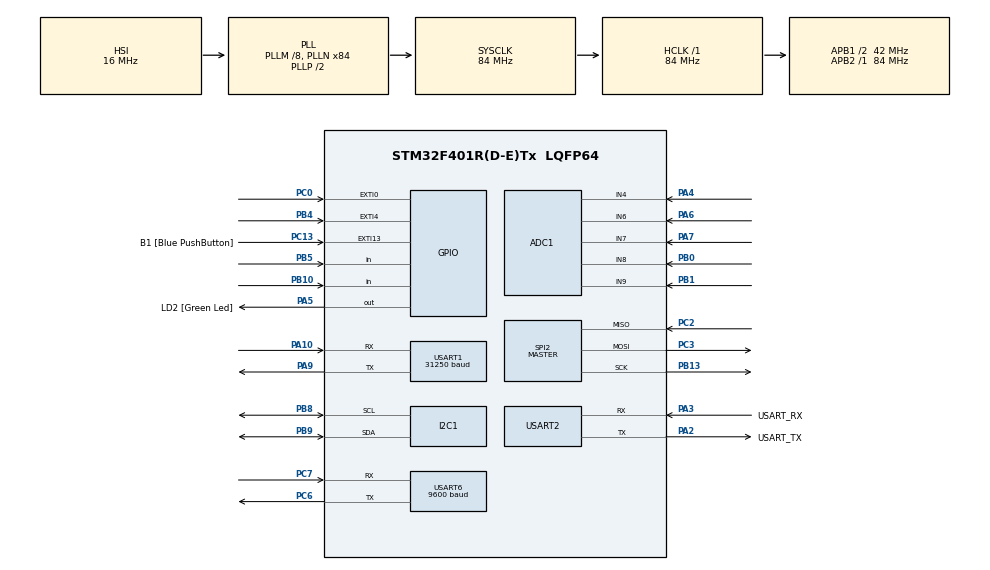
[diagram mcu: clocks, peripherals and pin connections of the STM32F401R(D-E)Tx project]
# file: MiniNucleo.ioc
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ADC1.Channel-0\#ChannelRegularConversion=ADC_CHANNEL_4
ADC1.Channel-1\#ChannelRegularConversion=ADC_CHANNEL_6
ADC1.Channel-2\#ChannelRegularConversion=ADC_CHANNEL_7
ADC1.Channel-3\#ChannelRegularConversion=ADC_CHANNEL_8
ADC1.Channel-4\#ChannelRegularConversion=ADC_CHANNEL_9
ADC1.ClockPrescaler=ADC_CLOCK_SYNC_PCLK_DIV4
ADC1.ContinuousConvMode=DISABLE
ADC1.DMAContinuousRequests=ENABLE
ADC1.DiscontinuousConvMode=DISABLE
ADC1.EOCSelection=ADC_EOC_SEQ_CONV
ADC1.ExternalTrigConv=ADC_EXTERNALTRIGCONV_T2_TRGO
ADC1.NbrOfConversion=5
ADC1.NbrOfConversionFlag=1
ADC1.Rank-0\#ChannelRegularConversion=1
ADC1.Rank-1\#ChannelRegularConversion=2
ADC1.Rank-2\#ChannelRegularConversion=3
ADC1.Rank-3\#ChannelRegularConversion=4
ADC1.Rank-4\#ChannelRegularConversion=5
ADC1.SamplingTime-0\#ChannelRegularConversion=ADC_SAMPLETIME_112CYCLES
ADC1.SamplingTime-1\#ChannelRegularConversion=ADC_SAMPLETIME_112CYCLES
ADC1.SamplingTime-2\#ChannelRegularConversion=ADC_SAMPLETIME_112CYCLES
ADC1.SamplingTime-3\#ChannelRegularConversion=ADC_SAMPLETIME_112CYCLES
ADC1.SamplingTime-4\#ChannelRegularConversion=ADC_SAMPLETIME_112CYCLES
ADC1.master=1
Dma.ADC1.0.Direction=DMA_PERIPH_TO_MEMORY
Dma.ADC1.0.FIFOMode=DMA_FIFOMODE_DISABLE
Dma.ADC1.0.Instance=DMA2_Stream0
Dma.ADC1.0.MemDataAlignment=DMA_MDATAALIGN_WORD
Dma.ADC1.0.MemInc=DMA_MINC_ENABLE
Dma.ADC1.0.Mode=DMA_CIRCULAR
Dma.ADC1.0.PeriphDataAlignment=DMA_PDATAALIGN_WORD
Dma.ADC1.0.PeriphInc=DMA_PINC_DISABLE
Dma.ADC1.0.Priority=DMA_PRIORITY_LOW
Dma.Request0=ADC1
Mcu.Family=STM32F4
Mcu.Name=STM32F401R(D-E)Tx
Mcu.Package=LQFP64
NVIC.ADC_IRQn=true\:0\:0\:false\:false\:true\:true\:true\:true
NVIC.DMA2_Stream0_IRQn=true\:0\:0\:false\:false\:true\:false\:true\:true
NVIC.EXTI0_IRQn=true\:0\:0\:false\:false\:true\:true\:true\:true
NVIC.EXTI15_10_IRQn=true\:0\:0\:false\:false\:true\:true\:true\:true
NVIC.EXTI4_IRQn=true\:0\:0\:false\:false\:true\:true\:true\:true
NVIC.I2C1_EV_IRQn=true\:0\:0\:false\:false\:true\:true\:true\:true
NVIC.PriorityGroup=NVIC_PRIORITYGROUP_0
NVIC.TIM2_IRQn=true\:0\:0\:false\:false\:true\:true\:true\:true
NVIC.TIM3_IRQn=true\:0\:0\:false\:false\:true\:true\:true\:true
PA10.Mode=Asynchronous
PA10.Signal=USART1_RX
PA13.GPIO_Label=TMS
PA13.Signal=SYS_JTMS-SWDIO
PA14.GPIO_Label=TCK
PA14.Signal=SYS_JTCK-SWCLK
PA2.GPIO_Label=USART_TX
PA2.GPIO_Mode=GPIO_MODE_AF_PP
PA2.GPIO_PuPd=GPIO_NOPULL
PA2.GPIO_Speed=GPIO_SPEED_FREQ_LOW
PA2.Mode=Asynchronous
PA2.Signal=USART2_TX
PA3.GPIO_Label=USART_RX
PA3.GPIO_Mode=GPIO_MODE_AF_PP
PA3.GPIO_PuPd=GPIO_NOPULL
PA3.GPIO_Speed=GPIO_SPEED_FREQ_LOW
PA3.Mode=Asynchronous
PA3.Signal=USART2_RX
PA4.Signal=ADCx_IN4
PA5.GPIO_Label=LD2 [Green Led]
PA5.GPIO_Mode=GPIO_MODE_OUTPUT_PP
PA5.GPIO_PuPd=GPIO_NOPULL
PA5.GPIO_Speed=GPIO_SPEED_FREQ_LOW
PA5.Signal=GPIO_Output
PA6.Signal=ADCx_IN6
PA7.Signal=ADCx_IN7
PA9.Mode=Asynchronous
PA9.Signal=USART1_TX
PB0.Signal=ADCx_IN8
PB1.Signal=ADCx_IN9
PB10.GPIO_PuPd=GPIO_PULLDOWN
PB10.Signal=GPIO_Input
PB13.Mode=Full_Duplex_Master
PB13.Signal=SPI2_SCK
PB4.GPIO_PuPd=GPIO_PULLDOWN
PB4.Signal=GPXTI4
PB5.GPIO_PuPd=GPIO_PULLDOWN
PB5.Signal=GPIO_Input
PB8.Mode=I2C
PB8.Signal=I2C1_SCL
PB9.Mode=I2C
PB9.Signal=I2C1_SDA
PC0.GPIO_PuPd=GPIO_PULLDOWN
PC0.Signal=GPXTI0
PC13-ANTI_TAMP.GPIO_Label=B1 [Blue PushButton]
PC13-ANTI_TAMP.GPIO_ModeDefaultEXTI=GPIO_MODE_IT_FALLING
PC13-ANTI_TAMP.GPIO_PuPd=GPIO_NOPULL
PC13-ANTI_TAMP.Signal=GPXTI13
PC14-OSC32_IN.Signal=RCC_OSC32_IN
PC15-OSC32_OUT.Signal=RCC_OSC32_OUT
PC2.Mode=Full_Duplex_Master
PC2.Signal=SPI2_MISO
PC3.Mode=Full_Duplex_Master
PC3.Signal=SPI2_MOSI
PC6.Mode=Asynchronous
PC6.Signal=USART6_TX
PC7.Mode=Asynchronous
PC7.Signal=USART6_RX
PH0\ -\ OSC_IN.Signal=RCC_OSC_IN
PH1\ -\ OSC_OUT.Signal=RCC_OSC_OUT
ProjectManager.HeapSize=0x200
ProjectManager.StackSize=0x400
ProjectManager.TargetToolchain=STM32CubeIDE
RCC.48MHZClocksFreq_Value=24000000
RCC.AHBFreq_Value=84000000
RCC.APB1CLKDivider=RCC_HCLK_DIV2
RCC.APB1Freq_Value=42000000
RCC.APB1TimFreq_Value=84000000
RCC.APB2Freq_Value=84000000
RCC.APB2TimFreq_Value=84000000
RCC.CortexFreq_Value=84000000
RCC.HCLKFreq_Value=84000000
RCC.HSE_VALUE=8000000
RCC.HSI_VALUE=16000000
RCC.LSE_VALUE=32768
RCC.PLLM=8
RCC.PLLN=84
RCC.PLLQ=7
RCC.SYSCLKFreq_VALUE=84000000
RCC.SYSCLKSource=RCC_SYSCLKSOURCE_PLLCLK
RCC.VCOOutputFreq_Value=168000000
SH.ADCx_IN4.0=ADC1_IN4,IN4
SH.ADCx_IN6.0=ADC1_IN6,IN6
SH.ADCx_IN7.0=ADC1_IN7,IN7
SH.ADCx_IN8.0=ADC1_IN8,IN8
SH.ADCx_IN9.0=ADC1_IN9,IN9
SPI2.CLKPhase=SPI_PHASE_2EDGE
SPI2.Direction=SPI_DIRECTION_2LINES
SPI2.Mode=SPI_MODE_MASTER
SPI2.VirtualType=VM_MASTER
TIM2.Channel-PWM\ Generation1\ No\ Output=TIM_CHANNEL_1
TIM2.Period=20000
TIM2.Prescaler=83
TIM2.Pulse-PWM\ Generation1\ No\ Output=0
TIM2.TIM_MasterOutputTrigger=TIM_TRGO_UPDATE
TIM3.AutoReloadPreload=TIM_AUTORELOAD_PRELOAD_ENABLE
TIM3.Period=20000
TIM3.Prescaler=83
TIM3.TIM_MasterOutputTrigger=TIM_TRGO_RESET
USART1.BaudRate=31250
USART1.VirtualMode=VM_ASYNC
USART2.VirtualMode=VM_ASYNC
USART6.BaudRate=9600
USART6.VirtualMode=VM_ASYNC
VP_TIM2_VS_ClockSourceINT.Mode=Internal
VP_TIM2_VS_no_output1.Mode=PWM Generation1 No Output
VP_TIM3_VS_ClockSourceINT.Mode=Internal
board=NUCLEO-F401RE

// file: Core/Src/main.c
/* USER CODE BEGIN Header */
/**
  ******************************************************************************
  * @file           : main.c
  * @brief          : Main program body
  ******************************************************************************
  * @attention
  *
  * Copyright (c) 2022 STMicroelectronics.
  * All rights reserved.
  *
  * This software is licensed under terms that can be found in the LICENSE file
  * in the root directory of this software component.
  * If no LICENSE file comes with this software, it is provided AS-IS.
  *
  ******************************************************************************
  */
/* USER CODE END Header */
#include "main.h"

/* USER CODE BEGIN Includes */
#include "lcd_i2c.h"
#include "midi_synth.h"
#include "stdlib.h"
#include "stdio.h"
#include "pixy.h"
#include <math.h>
/* USER CODE END Includes */

ADC_HandleTypeDef hadc1;
DMA_HandleTypeDef hdma_adc1;

I2C_HandleTypeDef hi2c1;

SPI_HandleTypeDef hspi2;

TIM_HandleTypeDef htim2;
TIM_HandleTypeDef htim3;

UART_HandleTypeDef huart1;
UART_HandleTypeDef huart2;
UART_HandleTypeDef huart6;

/* USER CODE BEGIN PV */
uint32_t adc_buffer[5] = {0,0,0,0,0};
uint32_t finger_on[5] = {0,0,0,0,0};
uint32_t finger_count[5] = {0,0,0,0,0};
uint32_t finger_amp[5] = {0,0,0,0,0};

uint16_t threshold = 800;
uint8_t force_samples = 3;
/* USER CODE END PV */

void SystemClock_Config(void);
static void MX_GPIO_Init(void);
static void MX_DMA_Init(void);
static void MX_ADC1_Init(void);
static void MX_USART2_UART_Init(void);
static void MX_TIM2_Init(void);
static void MX_I2C1_Init(void);
static void MX_USART1_UART_Init(void);
static void MX_SPI2_Init(void);
static void MX_TIM3_Init(void);
static void MX_USART6_UART_Init(void);

/* USER CODE BEGIN 0 */
uint8_t thumb_pos = 23;
uint8_t display_changed = 1;
uint8_t read_pixy = 0;
double ref_distance = 0.0;
double distance = 0.0;
/* USER CODE END 0 */

int main(void)
{
  /* USER CODE BEGIN 1 */

	int distance_gotten = 0;
  /* USER CODE END 1 */

  /* MCU Configuration--------------------------------------------------------*/

  /* Reset of all peripherals, Initializes the Flash interface and the Systick. */
  HAL_Init();

  /* Configure the system clock */
  SystemClock_Config();

  /* Initialize all configured peripherals */
  MX_GPIO_Init();
  MX_DMA_Init();
  MX_ADC1_Init();
  MX_USART2_UART_Init();
  MX_TIM2_Init();
  MX_I2C1_Init();
  MX_USART1_UART_Init();
  MX_SPI2_Init();
  MX_TIM3_Init();
  MX_USART6_UART_Init();
  /* USER CODE BEGIN 2 */
  HAL_TIM_PWM_Start(&htim2,TIM_CHANNEL_1);
  HAL_TIM_PWM_Start_IT(&htim3,TIM_CHANNEL_1);
  HAL_ADC_Start_DMA(&hadc1, (uint32_t*)adc_buffer, 5);
  lcd_init(&hi2c1);
  lcd_send_string(&hi2c1, "READY");
  lcd_set_pos(&hi2c1, 1, 0);
  lcd_send_string(&hi2c1, "PIANO");
  changeInstrument(&huart1, 0);
  changeVolume(&huart1, 127);

  /* USER CODE END 2 */

  /* Infinite loop */
  /* USER CODE BEGIN WHILE */

  uint8_t instrument_programs[] = {0, 25, 40, 56, 73};
  uint8_t white_keys[52] = {21, 23, 24, 26, 28, 29, 31, 33, 35, 36, 38, 40, 41, 43, 45, 47, 48, 50, 52, 53, 55, 57, 59, 60, 62, 64, 65, 67, 69, 71, 72, 74, 76, 77, 79, 81, 83, 84, 86, 88, 89, 91, 93, 95, 96, 98, 100, 101, 103, 105, 107, 108};
  char key_names[] = "AABCCDDEFFGG";
  char key_accidents[] = " #  # #  # #";
  uint8_t semitone_offset[5] = {0,2,4,5,7};
  uint8_t instrument = 0;
  uint8_t mode = 0;
  uint8_t PB5_prev = 0;
  uint8_t PB5_curr = 0;
  uint8_t PB10_prev = 0;
  uint8_t PB10_curr = 0;
  uint8_t prev_thumb_pos_mod = 0;
  uint8_t thumb_pos_modified = 0;
  uint8_t last_played[]  = {0, 0, 0, 0, 0};

  while (1)
  {
//	  HAL_Delay (500);
//	  playNote(&huart1, 60, 0x7F);
//	  HAL_Delay (500);
//	  playNote(&huart1, 64, 0x7F);
//	  HAL_Delay (500);
//	  playNote(&huart1, 67, 0x7F);
//	  HAL_Delay (500);
    /* USER CODE END WHILE */

    /* USER CODE BEGIN 3 */

	  // printf("adc_1: %d adc_2: %d adc_3: %d adc_4: %d adc_5: %d\n\r",adc_buffer[0],adc_buffer[1],adc_buffer[2],adc_buffer[3],adc_buffer[4]);

	  if (mode != 0) {
		  if (read_pixy){
			  distance_gotten = getDist(&hspi2);

			  if (distance_gotten != -1) {
				  // This is distance and should be used for distance calculation
				  distance = distance * .9 + (double)distance_gotten * .1;
			  }
			  read_pixy = 0;
			  //printf("distance: %d/n/r");
		  }

		  if (ref_distance != 0.0) {
			  thumb_pos_modified = thumb_pos + (int)floor((ref_distance - distance) / 2.9);
			  if (thumb_pos_modified > 47) thumb_pos_modified = 47;
			  if (thumb_pos_modified < 0) thumb_pos_modified = 0;
			  // printf("thumb_pos_modified: %d\n\r", thumb_pos_modified);
		  } else {
			  thumb_pos_modified = thumb_pos;
		  }

	  } else {
		  thumb_pos_modified = thumb_pos;
	  }
	  if (prev_thumb_pos_mod != thumb_pos_modified) display_changed = 1;
	  prev_thumb_pos_mod = thumb_pos_modified;

	  if (display_changed){
		  char notes_display[21] = "                    ";

		  for (uint8_t i = 0; i < 5 ; ++i){
			  uint8_t note_val;
			  if (mode == 2) note_val = white_keys[thumb_pos_modified] + semitone_offset[i];
			  else note_val = white_keys[thumb_pos_modified+i];
			  char note = key_names[(note_val + 3) % 12];
			  char number = ((note_val / 12)-1) + '0';
			  notes_display[3*i] = note;
			  notes_display[3*i+1] = number;
			  char accident = key_accidents[(note_val + 3) % 12];
			  if (accident == '#') notes_display[3*i+1] = accident;
		  }

		  lcd_set_pos(&hi2c1, 0, 0);
		  lcd_send_string(&hi2c1, notes_display);

		  display_changed = 0;
	  }

	  // check button 3, change instrument if pressed
	  PB5_curr = HAL_GPIO_ReadPin (GPIOB, GPIO_PIN_5);
	  if (PB5_curr && !PB5_prev) {
		  instrument++;
		  if (instrument > 4) instrument = 0;
		  // send MIDI command
		  changeInstrument(&huart1, instrument_programs[instrument]);
		  // display new instrument
		  lcd_set_pos(&hi2c1, 1, 0);
		  switch (instrument) {
		  case 0:
			  lcd_send_string(&hi2c1, "PIANO  ");
			  break;
		  case 1:
			  lcd_send_string(&hi2c1, "GUITAR ");
			  break;
		  case 2:
			  lcd_send_string(&hi2c1, "VIOLIN");
			  break;
		  case 3:
			  lcd_send_string(&hi2c1, "TRUMPET");
			  break;
		  case 4:
			  lcd_send_string(&hi2c1, "FLUTE  ");
			  break;
		  }
	  }
	  PB5_prev = PB5_curr;

	  PB10_curr = HAL_GPIO_ReadPin (GPIOB, GPIO_PIN_10);
	  	  if (PB10_curr && !PB10_prev) {
	  		  if (mode == 0 || ref_distance != 0.0){
	  			  mode++;
	  			  if (mode > 2) mode = 0;
	  			  printf("mode: %d\r\n", mode);
	  			  ref_distance = 0;
	  		  }
	  		  else {
	  			ref_distance = distance + 1.5;
	  			printf("ref distance: %f\n\r", ref_distance);
	  		  }

	  		  // print mode information
	  		  lcd_set_pos(&hi2c1, 1, 8);
	  		  switch (mode) {
	  		  case 0:
	  			  lcd_send_string(&hi2c1, "     ");
	  			  break;
	  		  case 1:
	  			  lcd_send_string(&hi2c1, "FULL ");
	  			  break;
	  		  case 2:
	  			  lcd_send_string(&hi2c1, "CHORD");
	  			  break;
	  		  }
	  	  }
	  	  PB10_prev = PB10_curr;

	  for (uint8_t i = 0; i < 5; ++i){
	  	if (!finger_on[i]){
	  		if (finger_count[i] >= force_samples){

	  			uint8_t velocity = 31 + ((float) finger_amp[i]*96/2000.0);
	  			if (i > 2) velocity = velocity * 1.2;
	  			if (velocity > 127) velocity = 127;

	  			uint8_t note_val;
	  			if (mode == 2) note_val = white_keys[thumb_pos_modified] + semitone_offset[i];
	  			else note_val = white_keys[thumb_pos_modified+i];

	  			playNote(&huart1, note_val, velocity);
	  			playNote(&huart6, note_val, velocity);
	  			printf("played finger %d \n\r", i);
	  			printf("adc_1: %d adc_2: %d adc_3: %d adc_4: %d adc_5: %d\n\r",adc_buffer[0],adc_buffer[1],adc_buffer[2],adc_buffer[3],adc_buffer[4]);
	  			finger_count[i] = 0;
	  			finger_amp[i] = 0;
	  			finger_on[i] = 1;
	  			last_played[i] = note_val;
	  		}
	  	}
	  	else{
	  		if (finger_count[i] >= force_samples){

	  			uint8_t note_val;
				if (mode == 2) note_val = white_keys[thumb_pos_modified] + semitone_offset[i];
				else note_val = white_keys[thumb_pos_modified+i];

	  			stopNote(&huart1, last_played[i], 0x40);
	  			stopNote(&huart6, last_played[i], 0x40);
	  			printf("released finger %d \n\r", i);
	  			finger_count[i] = 0;
	  			finger_on[i] = 0;
	  		}
	  	}
	  }

  }

  /* USER CODE END 3 */
}

void SystemClock_Config(void)
{
  RCC_OscInitTypeDef RCC_OscInitStruct = {0};
  RCC_ClkInitTypeDef RCC_ClkInitStruct = {0};

  /** Configure the main internal regulator output voltage
  */
  __HAL_RCC_PWR_CLK_ENABLE();
  __HAL_PWR_VOLTAGESCALING_CONFIG(PWR_REGULATOR_VOLTAGE_SCALE2);

  /** Initializes the RCC Oscillators according to the specified parameters
  * in the RCC_OscInitTypeDef structure.
  */
  RCC_OscInitStruct.OscillatorType = RCC_OSCILLATORTYPE_HSI;
  RCC_OscInitStruct.HSIState = RCC_HSI_ON;
  RCC_OscInitStruct.HSICalibrationValue = RCC_HSICALIBRATION_DEFAULT;
  RCC_OscInitStruct.PLL.PLLState = RCC_PLL_ON;
  RCC_OscInitStruct.PLL.PLLSource = RCC_PLLSOURCE_HSI;
  RCC_OscInitStruct.PLL.PLLM = 8;
  RCC_OscInitStruct.PLL.PLLN = 84;
  RCC_OscInitStruct.PLL.PLLP = RCC_PLLP_DIV2;
  RCC_OscInitStruct.PLL.PLLQ = 7;
  if (HAL_RCC_OscConfig(&RCC_OscInitStruct) != HAL_OK)
  {
    Error_Handler();
  }

  /** Initializes the CPU, AHB and APB buses clocks
  */
  RCC_ClkInitStruct.ClockType = RCC_CLOCKTYPE_HCLK|RCC_CLOCKTYPE_SYSCLK
                              |RCC_CLOCKTYPE_PCLK1|RCC_CLOCKTYPE_PCLK2;
  RCC_ClkInitStruct.SYSCLKSource = RCC_SYSCLKSOURCE_PLLCLK;
  RCC_ClkInitStruct.AHBCLKDivider = RCC_SYSCLK_DIV1;
  RCC_ClkInitStruct.APB1CLKDivider = RCC_HCLK_DIV2;
  RCC_ClkInitStruct.APB2CLKDivider = RCC_HCLK_DIV1;

  if (HAL_RCC_ClockConfig(&RCC_ClkInitStruct, FLASH_LATENCY_2) != HAL_OK)
  {
    Error_Handler();
  }
}

static void MX_ADC1_Init(void)
{

  ADC_ChannelConfTypeDef sConfig = {0};

  /** Configure the global features of the ADC (Clock, Resolution, Data Alignment and number of conversion)
  */
  hadc1.Instance = ADC1;
  hadc1.Init.ClockPrescaler = ADC_CLOCK_SYNC_PCLK_DIV4;
  hadc1.Init.Resolution = ADC_RESOLUTION_12B;
  hadc1.Init.ScanConvMode = ENABLE;
  hadc1.Init.ContinuousConvMode = DISABLE;
  hadc1.Init.DiscontinuousConvMode = DISABLE;
  hadc1.Init.ExternalTrigConvEdge = ADC_EXTERNALTRIGCONVEDGE_RISING;
  hadc1.Init.ExternalTrigConv = ADC_EXTERNALTRIGCONV_T2_TRGO;
  hadc1.Init.DataAlign = ADC_DATAALIGN_RIGHT;
  hadc1.Init.NbrOfConversion = 5;
  hadc1.Init.DMAContinuousRequests = ENABLE;
  hadc1.Init.EOCSelection = ADC_EOC_SEQ_CONV;
  if (HAL_ADC_Init(&hadc1) != HAL_OK)
  {
    Error_Handler();
  }

  /** Configure for the selected ADC regular channel its corresponding rank in the sequencer and its sample time.
  */
  sConfig.Channel = ADC_CHANNEL_4;
  sConfig.Rank = 1;
  sConfig.SamplingTime = ADC_SAMPLETIME_112CYCLES;
  if (HAL_ADC_ConfigChannel(&hadc1, &sConfig) != HAL_OK)
  {
    Error_Handler();
  }

  /** Configure for the selected ADC regular channel its corresponding rank in the sequencer and its sample time.
  */
  sConfig.Channel = ADC_CHANNEL_6;
  sConfig.Rank = 2;
  if (HAL_ADC_ConfigChannel(&hadc1, &sConfig) != HAL_OK)
  {
    Error_Handler();
  }

  /** Configure for the selected ADC regular channel its corresponding rank in the sequencer and its sample time.
  */
  sConfig.Channel = ADC_CHANNEL_7;
  sConfig.Rank = 3;
  if (HAL_ADC_ConfigChannel(&hadc1, &sConfig) != HAL_OK)
  {
    Error_Handler();
  }

  /** Configure for the selected ADC regular channel its corresponding rank in the sequencer and its sample time.
  */
  sConfig.Channel = ADC_CHANNEL_8;
  sConfig.Rank = 4;
  if (HAL_ADC_ConfigChannel(&hadc1, &sConfig) != HAL_OK)
  {
    Error_Handler();
  }

  /** Configure for the selected ADC regular channel its corresponding rank in the sequencer and its sample time.
  */
  sConfig.Channel = ADC_CHANNEL_9;
  sConfig.Rank = 5;
  if (HAL_ADC_ConfigChannel(&hadc1, &sConfig) != HAL_OK)
  {
    Error_Handler();
  }

}

static void MX_I2C1_Init(void)
{

  hi2c1.Instance = I2C1;
  hi2c1.Init.ClockSpeed = 100000;
  hi2c1.Init.DutyCycle = I2C_DUTYCYCLE_2;
  hi2c1.Init.OwnAddress1 = 0;
  hi2c1.Init.AddressingMode = I2C_ADDRESSINGMODE_7BIT;
  hi2c1.Init.DualAddressMode = I2C_DUALADDRESS_DISABLE;
  hi2c1.Init.OwnAddress2 = 0;
  hi2c1.Init.GeneralCallMode = I2C_GENERALCALL_DISABLE;
  hi2c1.Init.NoStretchMode = I2C_NOSTRETCH_DISABLE;
  if (HAL_I2C_Init(&hi2c1) != HAL_OK)
  {
    Error_Handler();
  }

}

static void MX_SPI2_Init(void)
{

  /* SPI2 parameter configuration*/
  hspi2.Instance = SPI2;
  hspi2.Init.Mode = SPI_MODE_MASTER;
  hspi2.Init.Direction = SPI_DIRECTION_2LINES;
  hspi2.Init.DataSize = SPI_DATASIZE_8BIT;
  hspi2.Init.CLKPolarity = SPI_POLARITY_LOW;
  hspi2.Init.CLKPhase = SPI_PHASE_2EDGE;
  hspi2.Init.NSS = SPI_NSS_SOFT;
  hspi2.Init.BaudRatePrescaler = SPI_BAUDRATEPRESCALER_2;
  hspi2.Init.FirstBit = SPI_FIRSTBIT_MSB;
  hspi2.Init.TIMode = SPI_TIMODE_DISABLE;
  hspi2.Init.CRCCalculation = SPI_CRCCALCULATION_DISABLE;
  hspi2.Init.CRCPolynomial = 10;
  if (HAL_SPI_Init(&hspi2) != HAL_OK)
  {
    Error_Handler();
  }

}

static void MX_TIM2_Init(void)
{

  TIM_ClockConfigTypeDef sClockSourceConfig = {0};
  TIM_MasterConfigTypeDef sMasterConfig = {0};
  TIM_OC_InitTypeDef sConfigOC = {0};

  htim2.Instance = TIM2;
  htim2.Init.Prescaler = 83;
  htim2.Init.CounterMode = TIM_COUNTERMODE_UP;
  htim2.Init.Period = 20000;
  htim2.Init.ClockDivision = TIM_CLOCKDIVISION_DIV1;
  htim2.Init.AutoReloadPreload = TIM_AUTORELOAD_PRELOAD_DISABLE;
  if (HAL_TIM_Base_Init(&htim2) != HAL_OK)
  {
    Error_Handler();
  }
  sClockSourceConfig.ClockSource = TIM_CLOCKSOURCE_INTERNAL;
  if (HAL_TIM_ConfigClockSource(&htim2, &sClockSourceConfig) != HAL_OK)
  {
    Error_Handler();
  }
  if (HAL_TIM_PWM_Init(&htim2) != HAL_OK)
  {
    Error_Handler();
  }
  sMasterConfig.MasterOutputTrigger = TIM_TRGO_UPDATE;
  sMasterConfig.MasterSlaveMode = TIM_MASTERSLAVEMODE_DISABLE;
  if (HAL_TIMEx_MasterConfigSynchronization(&htim2, &sMasterConfig) != HAL_OK)
  {
    Error_Handler();
  }
  sConfigOC.OCMode = TIM_OCMODE_PWM1;
  sConfigOC.Pulse = 0;
  sConfigOC.OCPolarity = TIM_OCPOLARITY_HIGH;
  sConfigOC.OCFastMode = TIM_OCFAST_DISABLE;
  if (HAL_TIM_PWM_ConfigChannel(&htim2, &sConfigOC, TIM_CHANNEL_1) != HAL_OK)
  {
    Error_Handler();
  }

}

static void MX_TIM3_Init(void)
{

  TIM_ClockConfigTypeDef sClockSourceConfig = {0};
  TIM_MasterConfigTypeDef sMasterConfig = {0};

  htim3.Instance = TIM3;
  htim3.Init.Prescaler = 83;
  htim3.Init.CounterMode = TIM_COUNTERMODE_UP;
  htim3.Init.Period = 20000;
  htim3.Init.ClockDivision = TIM_CLOCKDIVISION_DIV1;
  htim3.Init.AutoReloadPreload = TIM_AUTORELOAD_PRELOAD_ENABLE;
  if (HAL_TIM_Base_Init(&htim3) != HAL_OK)
  {
    Error_Handler();
  }
  sClockSourceConfig.ClockSource = TIM_CLOCKSOURCE_INTERNAL;
  if (HAL_TIM_ConfigClockSource(&htim3, &sClockSourceConfig) != HAL_OK)
  {
    Error_Handler();
  }
  sMasterConfig.MasterOutputTrigger = TIM_TRGO_RESET;
  sMasterConfig.MasterSlaveMode = TIM_MASTERSLAVEMODE_DISABLE;
  if (HAL_TIMEx_MasterConfigSynchronization(&htim3, &sMasterConfig) != HAL_OK)
  {
    Error_Handler();
  }

}

static void MX_USART1_UART_Init(void)
{

  huart1.Instance = USART1;
  huart1.Init.BaudRate = 31250;
  huart1.Init.WordLength = UART_WORDLENGTH_8B;
  huart1.Init.StopBits = UART_STOPBITS_1;
  huart1.Init.Parity = UART_PARITY_NONE;
  huart1.Init.Mode = UART_MODE_TX_RX;
  huart1.Init.HwFlowCtl = UART_HWCONTROL_NONE;
  huart1.Init.OverSampling = UART_OVERSAMPLING_16;
  if (HAL_UART_Init(&huart1) != HAL_OK)
  {
    Error_Handler();
  }

}

static void MX_USART2_UART_Init(void)
{

  huart2.Instance = USART2;
  huart2.Init.BaudRate = 115200;
  huart2.Init.WordLength = UART_WORDLENGTH_8B;
  huart2.Init.StopBits = UART_STOPBITS_1;
  huart2.Init.Parity = UART_PARITY_NONE;
  huart2.Init.Mode = UART_MODE_TX_RX;
  huart2.Init.HwFlowCtl = UART_HWCONTROL_NONE;
  huart2.Init.OverSampling = UART_OVERSAMPLING_16;
  if (HAL_UART_Init(&huart2) != HAL_OK)
  {
    Error_Handler();
  }

}

static void MX_USART6_UART_Init(void)
{

  huart6.Instance = USART6;
  huart6.Init.BaudRate = 9600;
  huart6.Init.WordLength = UART_WORDLENGTH_8B;
  huart6.Init.StopBits = UART_STOPBITS_1;
  huart6.Init.Parity = UART_PARITY_NONE;
  huart6.Init.Mode = UART_MODE_TX_RX;
  huart6.Init.HwFlowCtl = UART_HWCONTROL_NONE;
  huart6.Init.OverSampling = UART_OVERSAMPLING_16;
  if (HAL_UART_Init(&huart6) != HAL_OK)
  {
    Error_Handler();
  }

}

static void MX_DMA_Init(void)
{

  /* DMA controller clock enable */
  __HAL_RCC_DMA2_CLK_ENABLE();

  /* DMA interrupt init */
  /* DMA2_Stream0_IRQn interrupt configuration */
  HAL_NVIC_SetPriority(DMA2_Stream0_IRQn, 0, 0);
  HAL_NVIC_EnableIRQ(DMA2_Stream0_IRQn);

}

static void MX_GPIO_Init(void)
{
  GPIO_InitTypeDef GPIO_InitStruct = {0};

  /* GPIO Ports Clock Enable */
  __HAL_RCC_GPIOC_CLK_ENABLE();
  __HAL_RCC_GPIOH_CLK_ENABLE();
  __HAL_RCC_GPIOA_CLK_ENABLE();
  __HAL_RCC_GPIOB_CLK_ENABLE();

  /*Configure GPIO pin Output Level */
  HAL_GPIO_WritePin(LD2_GPIO_Port, LD2_Pin, GPIO_PIN_RESET);

  /*Configure GPIO pin : B1_Pin */
  GPIO_InitStruct.Pin = B1_Pin;
  GPIO_InitStruct.Mode = GPIO_MODE_IT_FALLING;
  GPIO_InitStruct.Pull = GPIO_NOPULL;
  HAL_GPIO_Init(B1_GPIO_Port, &GPIO_InitStruct);

  /*Configure GPIO pin : PC0 */
  GPIO_InitStruct.Pin = GPIO_PIN_0;
  GPIO_InitStruct.Mode = GPIO_MODE_IT_RISING;
  GPIO_InitStruct.Pull = GPIO_PULLDOWN;
  HAL_GPIO_Init(GPIOC, &GPIO_InitStruct);

  /*Configure GPIO pin : LD2_Pin */
  GPIO_InitStruct.Pin = LD2_Pin;
  GPIO_InitStruct.Mode = GPIO_MODE_OUTPUT_PP;
  GPIO_InitStruct.Pull = GPIO_NOPULL;
  GPIO_InitStruct.Speed = GPIO_SPEED_FREQ_LOW;
  HAL_GPIO_Init(LD2_GPIO_Port, &GPIO_InitStruct);

  /*Configure GPIO pins : PB10 PB5 */
  GPIO_InitStruct.Pin = GPIO_PIN_10|GPIO_PIN_5;
  GPIO_InitStruct.Mode = GPIO_MODE_INPUT;
  GPIO_InitStruct.Pull = GPIO_PULLDOWN;
  HAL_GPIO_Init(GPIOB, &GPIO_InitStruct);

  /*Configure GPIO pin : PB4 */
  GPIO_InitStruct.Pin = GPIO_PIN_4;
  GPIO_InitStruct.Mode = GPIO_MODE_IT_RISING;
  GPIO_InitStruct.Pull = GPIO_PULLDOWN;
  HAL_GPIO_Init(GPIOB, &GPIO_InitStruct);

  /* EXTI interrupt init*/
  HAL_NVIC_SetPriority(EXTI0_IRQn, 0, 0);
  HAL_NVIC_EnableIRQ(EXTI0_IRQn);

  HAL_NVIC_SetPriority(EXTI4_IRQn, 0, 0);
  HAL_NVIC_EnableIRQ(EXTI4_IRQn);

  HAL_NVIC_SetPriority(EXTI15_10_IRQn, 0, 0);
  HAL_NVIC_EnableIRQ(EXTI15_10_IRQn);

}

/* USER CODE BEGIN 4 */
#ifdef __GNUC__
#define PUTCHAR_PROTOTYPE int __io_putchar(int ch)
#else
  #define PUTCHAR_PROTOTYPE int fputc(int ch, FILE *f)
#endif /* __GNUC__ */
PUTCHAR_PROTOTYPE
{
  HAL_UART_Transmit(&huart2, (uint8_t *)&ch, 1, 0xFFFF);
  return ch;
}

/* USER CODE END 4 */

void Error_Handler(void)
{
  __disable_irq();
  while (1)
  {
  }
}
